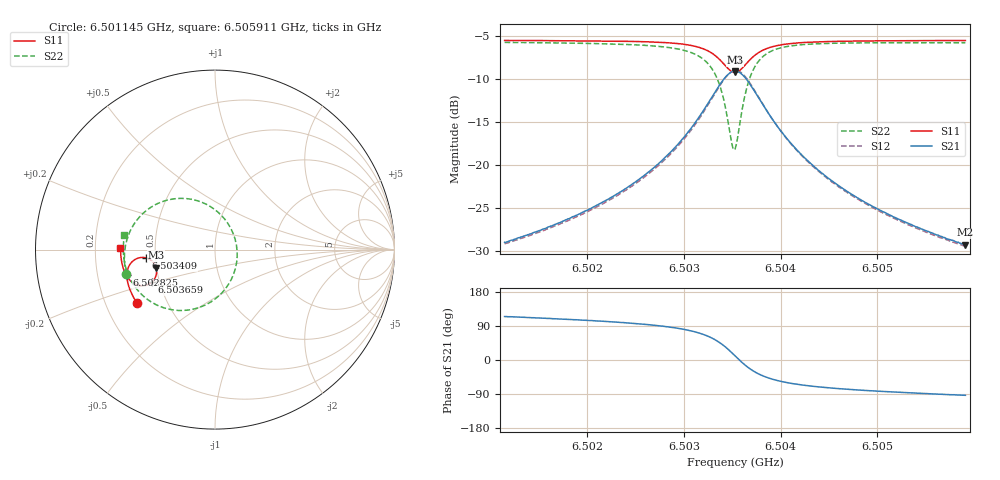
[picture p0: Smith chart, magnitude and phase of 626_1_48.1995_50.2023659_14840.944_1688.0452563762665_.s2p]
#  HZ  S  RI  R  50.00
! Rohde & Schwarz Vector Network Analyzer
! Rohde-Schwarz,ZNB20-2Port,1311601062101988,3.16
! Created: UTC 3/20/2024, 12:04:06 PM
! freq[Hz]  re:S11  im:S11  re:S21  im:S21  re:S12  im:S12  re:S22  im:S22
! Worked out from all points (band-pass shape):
!   401 points, 6.501145 GHz to 6.505911 GHz, reference 50 ohm
!   highest |S21| = -9.13 dB at 6.503528 GHz (marker M1); lowest = -29.3 dB at 6.505911 GHz (marker M2)
!   |S21| within 3 dB of the highest: 6.50329 GHz to 6.503767 GHz (476.6 kHz wide, 0.00733 % of centre)
!   lowest |S11| = -9.3 dB at 6.503528 GHz (marker M3), VSWR 2.05, Z = 24.9 - j5.62 ohm
!   |S11| at or under -10 dB: nowhere
!   |S22| runs from -18.3 to -5.8 dB; largest |S21 - S12| = 0.013
!   S11 on the Smith chart (normalised r, x): 6.501145 GHz: 0.34, -0.28; 6.502825 GHz: 0.33, -0.13; 6.503409 GHz: 0.44, -0.05; 6.503659 GHz: 0.45, -0.19; 6.505911 GHz: 0.31, +0.01
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6.5011446e9  -0.4355 -0.2967  -0.0147 0.0322  -0.0129 0.0322  -0.4945 -0.1382
6.501943e9  -0.4685 -0.2361  -0.0138 0.0508  -0.0113 0.0502  -0.5047 -0.05
6.5023481e9  -0.4822 -0.1991  -0.0109 0.0689  -0.00786 0.0679  -0.5007 0.00941
6.5027414e9  -0.4907 -0.1541  -0.000551 0.102  0.0031 0.0995  -0.4779 0.0919
6.5028248e9  -0.4911 -0.1424  0.00425 0.1129  0.00821 0.1097  -0.4669 0.1149
6.5030274e9  -0.4861 -0.1084  0.0277 0.1483  0.0315 0.1436  -0.4184 0.1844
6.5031704e9  -0.4711 -0.0784  0.0662 0.1826  0.0692 0.1766  -0.3436 0.2441
6.5033134e9  -0.432 -0.0486  0.1504 0.2118  0.1513 0.2055  -0.1902 0.2855
6.5034087e9  -0.3839 -0.0462  0.2445 0.1944  0.2448 0.1897  -0.0273 0.2406
6.5034921e9  -0.3397 -0.0766  0.325 0.1174  0.3279 0.1131  0.1015 0.0888
6.5035279e9  -0.3285 -0.0997  0.343 0.0671  0.3472 0.0614  0.123 -0.00585
6.5035517e9  -0.3254 -0.1166  0.3467 0.0315  0.3511 0.0242  0.1206 -0.0716
6.5035874e9  -0.3277 -0.1415  0.339 -0.0204  0.3429 -0.0298  0.0922 -0.1636
6.5036589e9  -0.3506 -0.18  0.2904 -0.0991  0.2907 -0.1112  -0.0219 -0.291
6.5037066e9  -0.372 -0.1943  0.249 -0.1286  0.2463 -0.1408  -0.109 -0.3287
6.5037662e9  -0.3978 -0.2011  0.2004 -0.1455  0.195 -0.1562  -0.2043 -0.3389
6.5039211e9  -0.4463 -0.1917  0.1139 -0.1413  0.1064 -0.1467  -0.3602 -0.2886
6.5040879e9  -0.4748 -0.1703  0.0669 -0.1195  0.0603 -0.1219  -0.4359 -0.2203
6.5043262e9  -0.4961 -0.1405  0.0354 -0.0933  0.0304 -0.0939  -0.4811 -0.1453
6.5047076e9  -0.5124 -0.0994  0.0148 -0.0672  0.0114 -0.0669  -0.5053 -0.0648
6.5051246e9  -0.5213 -0.06  0.00527 -0.0509  0.00302 -0.0502  -0.5111 -0.00311
6.5059111e9  -0.5266 0.00735  -0.0019 -0.0342  -0.00332 -0.0335  -0.5043 0.0833
